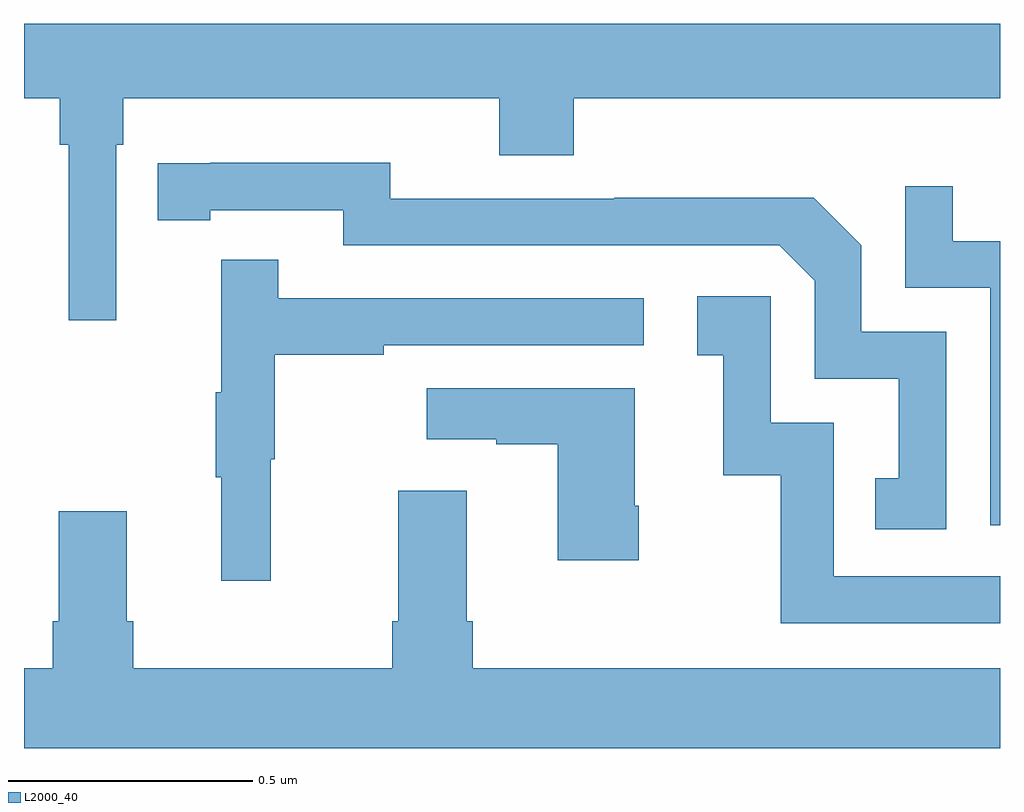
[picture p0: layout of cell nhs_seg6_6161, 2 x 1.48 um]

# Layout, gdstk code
import gdstk
lib = gdstk.Library(unit=1e-6, precision=1e-09)
def P(c, l, *ps):  # polygons
    for p in ps: c.add(gdstk.Polygon(p, *l))
L2000_40 = (2000, 40)

nhs_seg6_6161 = lib.new_cell('nhs_seg6_6161')
P(nhs_seg6_6161, L2000_40, [(192.189,935.252),(192.203,935.252),(192.203,935.348),(192.974,935.348),(192.974,935.231),(193.127,935.231),(193.127,935.348),(194,935.348),(194,935.5),(192,935.5),(192,935.348),(192.073,935.348),(192.073,935.252),(192.092,935.252),(192.092,934.893),(192.189,934.893)],
  [(193.89,934.869),(193.716,934.869),(193.716,935.046),(193.618,935.144),(193.21,935.144),(193.21,935.142),(192.75,935.142),(192.75,935.215),(192.382,935.215),(192.382,935.214),(192.274,935.214),(192.274,935.098),(192.382,935.098),(192.382,935.118),(192.654,935.118),(192.654,935.046),(193.548,935.046),(193.62,934.974),(193.62,934.773),(193.793,934.773),(193.793,934.569),(193.744,934.569),(193.744,934.464),(193.89,934.464)],
  [(194,935.055),(193.903,935.055),(193.903,935.167),(193.806,935.167),(193.806,934.959),(193.98,934.959),(193.98,934.473),(194,934.473)],
  [(192.506,934.608),(192.514,934.608),(192.514,934.822),(192.737,934.822),(192.737,934.842),(193.27,934.842),(193.27,934.938),(192.521,934.938),(192.521,935.017),(192.404,935.017),(192.404,934.745),(192.393,934.745),(192.393,934.571),(192.404,934.571),(192.404,934.359),(192.506,934.359)],
  [(194,934.368),(193.659,934.368),(193.659,934.683),(193.53,934.683),(193.53,934.942),(193.38,934.942),(193.38,934.821),(193.433,934.821),(193.433,934.575),(193.551,934.575),(193.551,934.272),(194,934.272)],
  [(193.26,934.513),(193.252,934.513),(193.252,934.753),(192.825,934.753),(192.825,934.649),(192.968,934.649),(192.968,934.639),(193.094,934.639),(193.094,934.401),(193.26,934.401)],
  [(194,934.18),(192.92,934.18),(192.92,934.276),(192.907,934.276),(192.907,934.543),(192.767,934.543),(192.767,934.276),(192.755,934.276),(192.755,934.18),(192.224,934.18),(192.224,934.276),(192.211,934.276),(192.211,934.501),(192.071,934.501),(192.071,934.276),(192.059,934.276),(192.059,934.18),(192,934.18),(192,934.016),(194,934.016)])

lib.write_gds('nhs_seg6_6161.gds')
